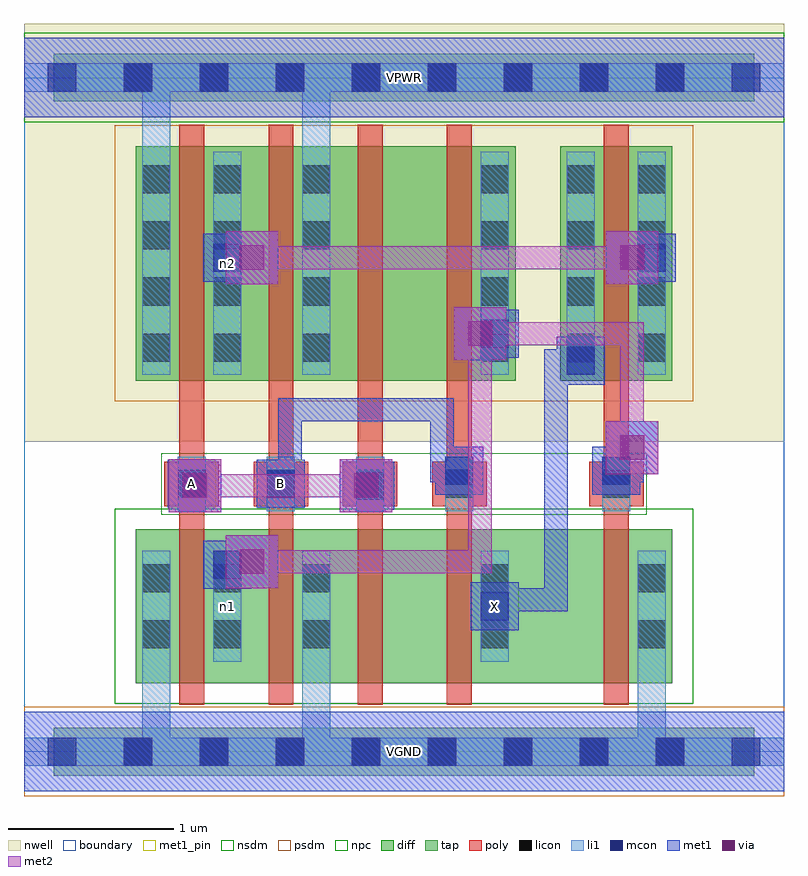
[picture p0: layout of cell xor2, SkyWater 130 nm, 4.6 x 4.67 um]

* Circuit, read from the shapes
.subckt xor2 A B VGND VPWR X n1 n2
XM1 n1 A VGND VGND sky130_fd_pr__nfet_01v8 w=0.93 l=0.15
XM2 VGND B n1 VGND sky130_fd_pr__nfet_01v8 w=0.93 l=0.15
XM3 n3 A VGND VGND sky130_fd_pr__nfet_01v8 w=0.93 l=0.15
XM4 X B n3 VGND sky130_fd_pr__nfet_01v8 w=0.93 l=0.15
XM5 VGND n1 X VGND sky130_fd_pr__nfet_01v8 w=0.93 l=0.15
XM6 n2 A VPWR VPWR sky130_fd_pr__pfet_01v8 w=1.42 l=0.15
XM7 VPWR B n2 VPWR sky130_fd_pr__pfet_01v8 w=1.42 l=0.15
XM8 n4 A VPWR VPWR sky130_fd_pr__pfet_01v8 w=1.42 l=0.15
XM9 n1 B n4 VPWR sky130_fd_pr__pfet_01v8 w=1.42 l=0.15
XM10 n2 n1 X VPWR sky130_fd_pr__pfet_01v8 w=1.42 l=0.15
.ends

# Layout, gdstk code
import gdstk
lib = gdstk.Library(unit=1e-6, precision=1e-09)
def R(c, l, rs):  # rectangles x0, y0, x1, y1
    for r in rs: c.add(gdstk.rectangle(r[:2], r[2:], *l))
def A(c, l, x, y, w, h, nx, ny, dx, dy):  # array of equal rectangles
    R(c, l, [(x+i*dx, y+j*dy, x+i*dx+w, y+j*dy+h) for i in range(nx) for j in range(ny)])
nwell = (64, 20)
diff = (65, 20)
tap = (65, 44)
poly = (66, 20)
licon = (66, 44)
li1 = (67, 20)
mcon = (67, 44)
met1_pin = (68, 16)
met1 = (68, 20)
via = (68, 44)
met2 = (69, 20)
nsdm = (93, 44)
psdm = (94, 20)
npc = (95, 20)
boundary = (235, 4)

xor2 = lib.new_cell('xor2')
R(xor2, nwell, [(0,1.875,4.6,4.405)])
R(xor2, diff, [(0.675,0.415,3.925,1.345), (0.675,2.245,2.975,3.665), (3.245,2.245,3.925,3.665)])
R(xor2, tap, [(0.18,-0.145,4.42,0.145), (0.18,3.935,4.42,4.225)])
A(xor2, poly, 0.94, 0.285, 0.15, 3.51, 4, 1, 0.54, 0)
A(xor2, poly, 0.85, 1.485, 0.33, 0.27, 4, 1, 0.54, 0)
R(xor2, poly, [(3.51,0.285,3.66,3.795), (3.42,1.485,3.75,1.755)])
A(xor2, licon, 0.605, -0.085, 0.17, 0.17, 8, 2, 0.46, 4.08)
A(xor2, licon, 0.93, 1.535, 0.17, 0.17, 4, 1, 0.54, 0)
A(xor2, licon, 0.715, 2.36, 0.17, 0.17, 1, 4, 0, 0.34)
A(xor2, licon, 1.145, 2.36, 0.17, 0.17, 1, 4, 0, 0.34)
A(xor2, licon, 1.685, 2.36, 0.17, 0.17, 1, 4, 0, 0.34)
A(xor2, licon, 2.765, 2.36, 0.17, 0.17, 1, 4, 0, 0.34)
A(xor2, licon, 3.285, 2.36, 0.17, 0.17, 1, 4, 0, 0.34)
A(xor2, licon, 3.715, 2.36, 0.17, 0.17, 1, 4, 0, 0.34)
R(xor2, licon, [(0.715,0.625,0.885,0.795), (1.145,0.625,1.315,0.795), (1.685,0.625,1.855,0.795), (2.765,0.625,2.935,0.795), (3.715,0.625,3.885,0.795), (0.715,0.965,0.885,1.135), (1.145,0.965,1.315,1.135), (1.685,0.965,1.855,1.135), (2.765,0.965,2.935,1.135), (3.715,0.965,3.885,1.135), (3.5,1.535,3.67,1.705)])
A(xor2, li1, 0.93, 1.455, 0.17, 0.33, 4, 1, 0.54, 0)
R(xor2, li1, [(0,-0.085,4.6,0.085), (0.715,-0.085,0.885,1.215), (1.685,-0.085,1.855,1.215), (3.715,-0.085,3.885,1.215), (0.715,0.545,0.885,1.215), (1.145,0.545,1.315,1.215), (1.685,0.545,1.855,1.215), (2.765,0.545,2.935,1.215), (3.715,0.545,3.885,1.215), (3.5,1.455,3.67,1.785), (0.715,2.28,0.885,3.63), (0.715,2.28,0.885,4.165), (1.145,2.28,1.315,3.63), (1.685,2.28,1.855,3.63), (1.685,2.28,1.855,4.165), (2.765,2.28,2.935,3.63), (3.285,2.28,3.455,3.63), (3.715,2.28,3.885,3.63), (0,3.995,4.6,4.165)])
A(xor2, mcon, 0.145, -0.085, 0.17, 0.17, 10, 2, 0.46, 4.08)
R(xor2, mcon, [(2.765,0.795,2.935,0.965), (1.145,1.045,1.315,1.215), (2.01,1.525,2.18,1.695), (0.93,1.535,1.1,1.705), (1.47,1.535,1.64,1.705), (2.55,1.615,2.72,1.785), (3.5,1.615,3.67,1.785), (3.285,2.28,3.455,2.45), (2.765,2.445,2.935,2.615), (1.145,2.905,1.315,3.075), (3.715,2.905,3.885,3.075)])
R(xor2, met1_pin, [(0,-0.24,4.6,0.24), (2.705,0.735,2.995,1.025), (0.87,1.475,1.16,1.765), (1.41,1.475,1.7,1.765), (0,3.84,4.6,4.32)])
R(xor2, met1, [(0,-0.24,4.6,0.24), (2.705,0.735,2.995,1.025), (2.805,0.85,2.945,0.99), (2.805,0.85,3.29,0.99), (3.15,0.85,3.29,2.255), (1.085,0.985,1.375,1.275), (1.22,0.99,1.54,1.31), (1.16,1.06,1.45,1.2), (1.31,1.06,1.45,1.22), (0.875,1.45,1.195,1.77), (1.91,1.45,2.23,1.77), (1.95,1.465,2.24,1.755), (0.87,1.475,1.16,1.765), (1.41,1.475,1.7,1.765), (0.965,1.54,1.105,1.68), (1.54,1.54,1.68,1.68), (1.54,1.54,1.68,2.14), (2,1.54,2.165,1.68), (2.49,1.555,2.78,1.845), (3.44,1.555,3.73,1.845), (2.46,1.63,2.705,1.77), (2.46,1.63,2.6,1.91), (3.515,1.63,3.75,1.77), (3.61,1.63,3.75,1.91), (3.52,1.68,3.84,2), (2.46,1.77,2.6,2.14), (1.54,2,2.6,2.14), (3.15,2.115,3.29,2.435), (3.225,2.22,3.515,2.51), (3.15,2.295,3.44,2.435), (2.6,2.37,2.92,2.69), (2.705,2.385,2.995,2.675), (2.69,2.46,2.92,2.6), (1.22,2.83,1.54,3.15), (3.52,2.83,3.84,3.15), (1.085,2.845,1.375,3.135), (3.655,2.845,3.945,3.135), (1.16,2.92,1.45,3.06), (3.61,2.92,3.87,3.06), (0,3.84,4.6,4.32)])
R(xor2, via, [(1.305,1.075,1.455,1.225), (0.96,1.535,1.11,1.685), (1.995,1.535,2.145,1.685), (3.605,1.765,3.755,1.915), (2.685,2.455,2.835,2.605), (1.305,2.915,1.455,3.065), (3.605,2.915,3.755,3.065)])
R(xor2, met2, [(1.22,0.99,1.54,1.31), (1.31,1.08,2.83,1.22), (2.69,1.08,2.83,2.6), (0.875,1.45,1.195,1.77), (1.91,1.45,2.23,1.77), (0.965,1.54,2.14,1.68), (3.52,1.68,3.84,2), (3.61,1.77,3.75,2.6), (2.6,2.37,2.92,2.69), (2.69,2.46,3.75,2.6), (1.22,2.83,1.54,3.15), (3.52,2.83,3.84,3.15), (1.31,2.92,3.75,3.06)])
R(xor2, nsdm, [(0.55,0.29,4.05,1.47), (0,3.81,4.6,4.35)])
R(xor2, psdm, [(0,-0.27,4.6,0.27), (0.55,2.12,4.05,3.79)])
R(xor2, npc, [(0.83,1.435,3.77,1.805)])
R(xor2, boundary, [(0,0,4.6,4.08)])
xor2.add(gdstk.Label('n1', (1.23,0.88), layer=67, texttype=5))
xor2.add(gdstk.Label('n2', (1.23,2.955), layer=67, texttype=5))
xor2.add(gdstk.Label('A', (1.015,1.62), layer=68, texttype=5))
xor2.add(gdstk.Label('B', (1.555,1.62), layer=68, texttype=5))
xor2.add(gdstk.Label('X', (2.85,0.88), layer=68, texttype=5))
xor2.add(gdstk.Label('VPWR', (2.3,4.08), layer=68, texttype=5))
xor2.add(gdstk.Label('VGND', (2.3,0), layer=68, texttype=5))
xor2.add(gdstk.Label('A', (1.015,1.62), layer=68, texttype=16))
xor2.add(gdstk.Label('B', (1.555,1.62), layer=68, texttype=16))
xor2.add(gdstk.Label('X', (2.85,0.88), layer=68, texttype=16))
xor2.add(gdstk.Label('VPWR', (2.3,4.08), layer=68, texttype=16))
xor2.add(gdstk.Label('VGND', (2.3,0), layer=68, texttype=16))

lib.write_gds('xor2.gds')
